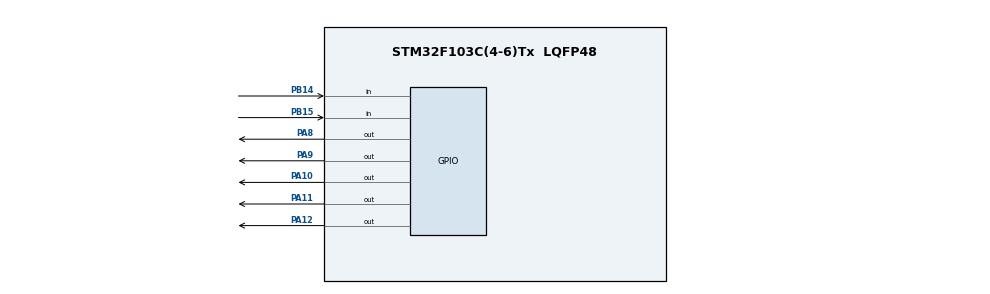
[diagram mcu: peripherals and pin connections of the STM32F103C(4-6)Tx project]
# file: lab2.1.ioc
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Mcu.Family=STM32F1
RCC.APB2Freq_Value=8000000
PA8.Signal=GPIO_Output
Mcu.Name=STM32F103C(4-6)Tx
PB15.Signal=GPIO_Input
VP_SYS_VS_ND.Mode=No_Debug
Mcu.Package=LQFP48
ProjectManager.StackSize=0x400
PA11.Signal=GPIO_Output
PA10.Signal=GPIO_Output
PA12.Signal=GPIO_Output
ProjectManager.HeapSize=0x200
ProjectManager.TargetToolchain=STM32CubeIDE
NVIC.PriorityGroup=NVIC_PRIORITYGROUP_4
PA9.Signal=GPIO_Output
RCC.APB1Freq_Value=8000000
PB14.Signal=GPIO_Input
board=custom

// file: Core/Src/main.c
/* USER CODE BEGIN Header */
/**
  ******************************************************************************
  * @file           : main.c
  * @brief          : Main program body
  ******************************************************************************
  * @attention
  *
  * <h2><center>&copy; Copyright (c) 2021 STMicroelectronics.
  * All rights reserved.</center></h2>
  *
  * This software component is licensed by ST under BSD 3-Clause license,
  * the "License"; You may not use this file except in compliance with the
  * License. You may obtain a copy of the License at:
  *                        opensource.org/licenses/BSD-3-Clause
  *
  ******************************************************************************
  */
/* USER CODE END Header */
#include "main.h"
#include "gpio.h"

void SystemClock_Config(void);

int main(void)
{

  /* MCU Configuration--------------------------------------------------------*/

  /* Reset of all peripherals, Initializes the Flash interface and the Systick. */
  HAL_Init();

  /* Configure the system clock */
  SystemClock_Config();

  /* Initialize all configured peripherals */
  MX_GPIO_Init();

  /* Infinite loop */
  /* USER CODE BEGIN WHILE */
  short enablePinCount = 0;
  short count = 1;
  while (1)
  {
	  if(HAL_GPIO_ReadPin(GPIOB, GPIO_PIN_15) == GPIO_PIN_SET)
	  {
		  if(count == 1)
		  {
			  HAL_GPIO_WritePin(GPIOA, GPIO_PIN_12, GPIO_PIN_RESET);
			  HAL_GPIO_WritePin(GPIOA, GPIO_PIN_8, GPIO_PIN_SET);
		  }
		  else if(count == 2)
		  {
			  HAL_GPIO_WritePin(GPIOA, GPIO_PIN_8, GPIO_PIN_RESET);
			  HAL_GPIO_WritePin(GPIOA, GPIO_PIN_9, GPIO_PIN_SET);

		  }
		  else if(count == 3)
		  {
			  HAL_GPIO_WritePin(GPIOA, GPIO_PIN_9, GPIO_PIN_RESET);
			  HAL_GPIO_WritePin(GPIOA, GPIO_PIN_10, GPIO_PIN_SET);
		  }
		  else if(count == 4)
		  {
			  HAL_GPIO_WritePin(GPIOA, GPIO_PIN_10, GPIO_PIN_RESET);
			  HAL_GPIO_WritePin(GPIOA, GPIO_PIN_11, GPIO_PIN_SET);
		  }
		  else
		  {
			  HAL_GPIO_WritePin(GPIOA, GPIO_PIN_11, GPIO_PIN_RESET);
			  HAL_GPIO_WritePin(GPIOA, GPIO_PIN_12, GPIO_PIN_SET);
			  count = 0;
		  }
		  count += 1;
		  HAL_Delay(200);
	  }

	  if(HAL_GPIO_ReadPin(GPIOB, GPIO_PIN_14) == GPIO_PIN_SET)
	  {
		  enablePinCount = enablePinCount + 1;
		  switch(enablePinCount)
	      {
			  case 1:
				  HAL_GPIO_WritePin(GPIOA, GPIO_PIN_8, GPIO_PIN_SET);
				  break;
			  case 2:
				  HAL_GPIO_WritePin(GPIOA, GPIO_PIN_8, GPIO_PIN_SET);
				  HAL_GPIO_WritePin(GPIOA, GPIO_PIN_9, GPIO_PIN_SET);
				  break;
			  case 3:
				  HAL_GPIO_WritePin(GPIOA, GPIO_PIN_8, GPIO_PIN_SET);
				  HAL_GPIO_WritePin(GPIOA, GPIO_PIN_9, GPIO_PIN_SET);
				  HAL_GPIO_WritePin(GPIOA, GPIO_PIN_10, GPIO_PIN_SET);
				  break;
			  case 4:
				  HAL_GPIO_WritePin(GPIOA, GPIO_PIN_8, GPIO_PIN_SET);
				  HAL_GPIO_WritePin(GPIOA, GPIO_PIN_9, GPIO_PIN_SET);
				  HAL_GPIO_WritePin(GPIOA, GPIO_PIN_10, GPIO_PIN_SET);
				  HAL_GPIO_WritePin(GPIOA, GPIO_PIN_11, GPIO_PIN_SET);
				  break;
			  case 5:
				  HAL_GPIO_WritePin(GPIOA, GPIO_PIN_8, GPIO_PIN_SET);
				  HAL_GPIO_WritePin(GPIOA, GPIO_PIN_9, GPIO_PIN_SET);
				  HAL_GPIO_WritePin(GPIOA, GPIO_PIN_10, GPIO_PIN_SET);
				  HAL_GPIO_WritePin(GPIOA, GPIO_PIN_11, GPIO_PIN_SET);
				  HAL_GPIO_WritePin(GPIOA, GPIO_PIN_12, GPIO_PIN_SET);
				  break;
			  default :
				  enablePinCount = 0;
				  HAL_GPIO_WritePin(GPIOA, GPIO_PIN_8, GPIO_PIN_RESET);
				  HAL_GPIO_WritePin(GPIOA, GPIO_PIN_9, GPIO_PIN_RESET);
				  HAL_GPIO_WritePin(GPIOA, GPIO_PIN_10, GPIO_PIN_RESET);
				  HAL_GPIO_WritePin(GPIOA, GPIO_PIN_11, GPIO_PIN_RESET);
				  HAL_GPIO_WritePin(GPIOA, GPIO_PIN_12, GPIO_PIN_RESET);

		  }
		  HAL_Delay(200);
	  }
    /* USER CODE END WHILE */

  }
}

void SystemClock_Config(void)
{
  RCC_OscInitTypeDef RCC_OscInitStruct = {0};
  RCC_ClkInitTypeDef RCC_ClkInitStruct = {0};

  /** Initializes the RCC Oscillators according to the specified parameters
  * in the RCC_OscInitTypeDef structure.
  */
  RCC_OscInitStruct.OscillatorType = RCC_OSCILLATORTYPE_HSI;
  RCC_OscInitStruct.HSIState = RCC_HSI_ON;
  RCC_OscInitStruct.HSICalibrationValue = RCC_HSICALIBRATION_DEFAULT;
  RCC_OscInitStruct.PLL.PLLState = RCC_PLL_NONE;
  if (HAL_RCC_OscConfig(&RCC_OscInitStruct) != HAL_OK)
  {
    Error_Handler();
  }
  /** Initializes the CPU, AHB and APB buses clocks
  */
  RCC_ClkInitStruct.ClockType = RCC_CLOCKTYPE_HCLK|RCC_CLOCKTYPE_SYSCLK
                              |RCC_CLOCKTYPE_PCLK1|RCC_CLOCKTYPE_PCLK2;
  RCC_ClkInitStruct.SYSCLKSource = RCC_SYSCLKSOURCE_HSI;
  RCC_ClkInitStruct.AHBCLKDivider = RCC_SYSCLK_DIV1;
  RCC_ClkInitStruct.APB1CLKDivider = RCC_HCLK_DIV1;
  RCC_ClkInitStruct.APB2CLKDivider = RCC_HCLK_DIV1;

  if (HAL_RCC_ClockConfig(&RCC_ClkInitStruct, FLASH_LATENCY_0) != HAL_OK)
  {
    Error_Handler();
  }
}

void Error_Handler(void)
{
  __disable_irq();
  while (1)
  {
  }
}

/************************ (C) COPYRIGHT STMicroelectronics *****END OF FILE****/
